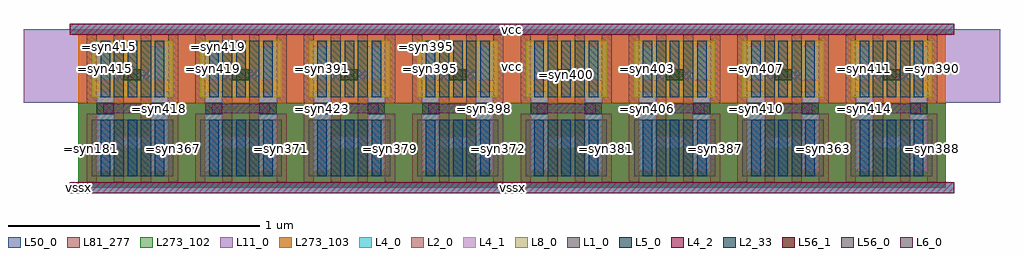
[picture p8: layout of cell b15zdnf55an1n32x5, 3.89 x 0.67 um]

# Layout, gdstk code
import gdstk
lib = gdstk.Library(unit=1e-6, precision=5e-10)
def R(c, l, rs):  # rectangles x0, y0, x1, y1
    for r in rs: c.add(gdstk.rectangle(r[:2], r[2:], *l))
def A(c, l, x, y, w, h, nx, ny, dx, dy):  # array of equal rectangles
    R(c, l, [(x+i*dx, y+j*dy, x+i*dx+w, y+j*dy+h) for i in range(nx) for j in range(ny)])
def P(c, l, *ps):  # polygons
    for p in ps: c.add(gdstk.Polygon(p, *l))
L1_0 = (1, 0)
L2_0 = (2, 0)
L2_33 = (2, 33)
L4_0 = (4, 0)
L4_1 = (4, 1)
L4_2 = (4, 2)
L5_0 = (5, 0)
L6_0 = (6, 0)
L8_0 = (8, 0)
L11_0 = (11, 0)
L50_0 = (50, 0)
L56_0 = (56, 0)
L56_1 = (56, 1)
L81_277 = (81, 277)
L273_102 = (273, 102)
L273_103 = (273, 103)

b15zdnf55an1n32x5 = lib.new_cell('b15zdnf55an1n32x5')
A(b15zdnf55an1n32x5, L1_0, 0.054, 0.045, 0.324, 0.225, 8, 1, 0.432, 0)
R(b15zdnf55an1n32x5, L2_0, [(0.034,0.021,0.074,0.294), (0.142,0.021,0.182,0.609), (0.25,0.021,0.29,0.609), (0.358,0.021,0.398,0.294), (0.466,0.021,0.506,0.294), (0.574,0.021,0.614,0.609), (0.682,0.021,0.722,0.609), (0.79,0.021,0.83,0.294), (0.898,0.021,0.938,0.294), (1.006,0.021,1.046,0.609), (1.114,0.021,1.154,0.609), (1.222,0.021,1.262,0.294), (1.33,0.021,1.37,0.294), (1.438,0.021,1.478,0.609), (1.546,0.021,1.586,0.609), (1.654,0.021,1.694,0.294), (1.762,0.021,1.802,0.294), (1.87,0.021,1.91,0.609), (1.978,0.021,2.018,0.609), (2.086,0.021,2.126,0.294), (2.194,0.021,2.234,0.294), (2.302,0.021,2.342,0.609), (2.41,0.021,2.45,0.609), (2.518,0.021,2.558,0.294), (2.626,0.021,2.666,0.294), (2.734,0.021,2.774,0.609), (2.842,0.021,2.882,0.609), (2.95,0.021,2.99,0.294), (3.058,0.021,3.098,0.294), (3.166,0.021,3.206,0.609), (3.274,0.021,3.314,0.609), (3.382,0.021,3.422,0.294), (0.034,0.336,0.074,0.609), (0.358,0.336,0.398,0.609), (0.466,0.336,0.506,0.609), (0.79,0.336,0.83,0.609), (0.898,0.336,0.938,0.609), (1.222,0.336,1.262,0.609), (1.33,0.336,1.37,0.609), (1.654,0.336,1.694,0.609), (1.762,0.336,1.802,0.609), (2.086,0.336,2.126,0.609), (2.194,0.336,2.234,0.609), (2.518,0.336,2.558,0.609), (2.626,0.336,2.666,0.609), (2.95,0.336,2.99,0.609), (3.058,0.336,3.098,0.609), (3.382,0.336,3.422,0.609)])
R(b15zdnf55an1n32x5, L2_33, [(0.142,0.045,0.182,0.27), (0.25,0.045,0.29,0.27), (0.574,0.045,0.614,0.27), (0.682,0.045,0.722,0.27), (1.006,0.045,1.046,0.27), (1.114,0.045,1.154,0.27), (1.438,0.045,1.478,0.27), (1.546,0.045,1.586,0.27), (1.87,0.045,1.91,0.27), (1.978,0.045,2.018,0.27), (2.302,0.045,2.342,0.27), (2.41,0.045,2.45,0.27), (2.734,0.045,2.774,0.27), (2.842,0.045,2.882,0.27), (3.166,0.045,3.206,0.27), (3.274,0.045,3.314,0.27), (0.142,0.36,0.182,0.585), (0.25,0.36,0.29,0.585), (0.574,0.36,0.614,0.585), (0.682,0.36,0.722,0.585), (1.006,0.36,1.046,0.585), (1.114,0.36,1.154,0.585), (1.438,0.36,1.478,0.585), (1.546,0.36,1.586,0.585), (1.87,0.36,1.91,0.585), (1.978,0.36,2.018,0.585), (2.302,0.36,2.342,0.585), (2.41,0.36,2.45,0.585), (2.734,0.36,2.774,0.585), (2.842,0.36,2.882,0.585), (3.166,0.36,3.206,0.585), (3.274,0.36,3.314,0.585)])
R(b15zdnf55an1n32x5, L4_0, [(-0.034,-0.022,3.49,0.022), (-0.034,0.608,3.49,0.652)])
P(b15zdnf55an1n32x5, L4_0, [(0.358,0.428),(0.074,0.428),(0.074,0.562),(0.142,0.562),(0.142,0.472),(0.29,0.472),(0.29,0.562),(0.358,0.562)],
  [(0.358,0.068),(0.29,0.068),(0.29,0.158),(0.142,0.158),(0.142,0.068),(0.074,0.068),(0.074,0.382),(0.142,0.382),(0.142,0.202),(0.29,0.202),(0.29,0.382),(0.358,0.382)],
  [(0.79,0.428),(0.506,0.428),(0.506,0.562),(0.574,0.562),(0.574,0.472),(0.722,0.472),(0.722,0.562),(0.79,0.562)],
  [(0.79,0.068),(0.722,0.068),(0.722,0.158),(0.574,0.158),(0.574,0.068),(0.506,0.068),(0.506,0.382),(0.574,0.382),(0.574,0.202),(0.722,0.202),(0.722,0.382),(0.79,0.382)],
  [(1.222,0.428),(0.938,0.428),(0.938,0.562),(1.006,0.562),(1.006,0.472),(1.154,0.472),(1.154,0.562),(1.222,0.562)],
  [(1.222,0.068),(1.154,0.068),(1.154,0.158),(1.006,0.158),(1.006,0.068),(0.938,0.068),(0.938,0.382),(1.006,0.382),(1.006,0.202),(1.154,0.202),(1.154,0.382),(1.222,0.382)],
  [(1.654,0.428),(1.37,0.428),(1.37,0.562),(1.438,0.562),(1.438,0.472),(1.586,0.472),(1.586,0.562),(1.654,0.562)],
  [(1.654,0.068),(1.586,0.068),(1.586,0.158),(1.438,0.158),(1.438,0.068),(1.37,0.068),(1.37,0.382),(1.438,0.382),(1.438,0.202),(1.586,0.202),(1.586,0.382),(1.654,0.382)],
  [(2.086,0.428),(1.802,0.428),(1.802,0.562),(1.87,0.562),(1.87,0.472),(2.018,0.472),(2.018,0.562),(2.086,0.562)],
  [(2.086,0.068),(2.018,0.068),(2.018,0.158),(1.87,0.158),(1.87,0.068),(1.802,0.068),(1.802,0.382),(1.87,0.382),(1.87,0.202),(2.018,0.202),(2.018,0.382),(2.086,0.382)],
  [(2.518,0.428),(2.234,0.428),(2.234,0.562),(2.302,0.562),(2.302,0.472),(2.45,0.472),(2.45,0.562),(2.518,0.562)],
  [(2.518,0.068),(2.45,0.068),(2.45,0.158),(2.302,0.158),(2.302,0.068),(2.234,0.068),(2.234,0.382),(2.302,0.382),(2.302,0.202),(2.45,0.202),(2.45,0.382),(2.518,0.382)],
  [(2.95,0.428),(2.666,0.428),(2.666,0.562),(2.734,0.562),(2.734,0.472),(2.882,0.472),(2.882,0.562),(2.95,0.562)],
  [(2.95,0.068),(2.882,0.068),(2.882,0.158),(2.734,0.158),(2.734,0.068),(2.666,0.068),(2.666,0.382),(2.734,0.382),(2.734,0.202),(2.882,0.202),(2.882,0.382),(2.95,0.382)],
  [(3.382,0.428),(3.098,0.428),(3.098,0.562),(3.166,0.562),(3.166,0.472),(3.314,0.472),(3.314,0.562),(3.382,0.562)],
  [(3.382,0.068),(3.314,0.068),(3.314,0.158),(3.166,0.158),(3.166,0.068),(3.098,0.068),(3.098,0.382),(3.166,0.382),(3.166,0.202),(3.314,0.202),(3.314,0.382),(3.382,0.382)])
P(b15zdnf55an1n32x5, L4_1, [(0.358,0.428),(0.074,0.428),(0.074,0.562),(0.142,0.562),(0.142,0.472),(0.29,0.472),(0.29,0.562),(0.358,0.562)],
  [(0.358,0.068),(0.29,0.068),(0.29,0.158),(0.142,0.158),(0.142,0.068),(0.074,0.068),(0.074,0.382),(0.142,0.382),(0.142,0.202),(0.29,0.202),(0.29,0.382),(0.358,0.382)],
  [(0.79,0.428),(0.506,0.428),(0.506,0.562),(0.574,0.562),(0.574,0.472),(0.722,0.472),(0.722,0.562),(0.79,0.562)],
  [(0.79,0.068),(0.722,0.068),(0.722,0.158),(0.574,0.158),(0.574,0.068),(0.506,0.068),(0.506,0.382),(0.574,0.382),(0.574,0.202),(0.722,0.202),(0.722,0.382),(0.79,0.382)],
  [(1.222,0.428),(0.938,0.428),(0.938,0.562),(1.006,0.562),(1.006,0.472),(1.154,0.472),(1.154,0.562),(1.222,0.562)],
  [(1.222,0.068),(1.154,0.068),(1.154,0.158),(1.006,0.158),(1.006,0.068),(0.938,0.068),(0.938,0.382),(1.006,0.382),(1.006,0.202),(1.154,0.202),(1.154,0.382),(1.222,0.382)],
  [(1.654,0.428),(1.37,0.428),(1.37,0.562),(1.438,0.562),(1.438,0.472),(1.586,0.472),(1.586,0.562),(1.654,0.562)],
  [(1.654,0.068),(1.586,0.068),(1.586,0.158),(1.438,0.158),(1.438,0.068),(1.37,0.068),(1.37,0.382),(1.438,0.382),(1.438,0.202),(1.586,0.202),(1.586,0.382),(1.654,0.382)],
  [(2.086,0.428),(1.802,0.428),(1.802,0.562),(1.87,0.562),(1.87,0.472),(2.018,0.472),(2.018,0.562),(2.086,0.562)],
  [(2.086,0.068),(2.018,0.068),(2.018,0.158),(1.87,0.158),(1.87,0.068),(1.802,0.068),(1.802,0.382),(1.87,0.382),(1.87,0.202),(2.018,0.202),(2.018,0.382),(2.086,0.382)],
  [(2.518,0.428),(2.234,0.428),(2.234,0.562),(2.302,0.562),(2.302,0.472),(2.45,0.472),(2.45,0.562),(2.518,0.562)],
  [(2.518,0.068),(2.45,0.068),(2.45,0.158),(2.302,0.158),(2.302,0.068),(2.234,0.068),(2.234,0.382),(2.302,0.382),(2.302,0.202),(2.45,0.202),(2.45,0.382),(2.518,0.382)],
  [(2.95,0.428),(2.666,0.428),(2.666,0.562),(2.734,0.562),(2.734,0.472),(2.882,0.472),(2.882,0.562),(2.95,0.562)],
  [(2.95,0.068),(2.882,0.068),(2.882,0.158),(2.734,0.158),(2.734,0.068),(2.666,0.068),(2.666,0.382),(2.734,0.382),(2.734,0.202),(2.882,0.202),(2.882,0.382),(2.95,0.382)],
  [(3.382,0.428),(3.098,0.428),(3.098,0.562),(3.166,0.562),(3.166,0.472),(3.314,0.472),(3.314,0.562),(3.382,0.562)],
  [(3.382,0.068),(3.314,0.068),(3.314,0.158),(3.166,0.158),(3.166,0.068),(3.098,0.068),(3.098,0.382),(3.166,0.382),(3.166,0.202),(3.314,0.202),(3.314,0.382),(3.382,0.382)])
R(b15zdnf55an1n32x5, L4_2, [(-0.034,-0.022,3.49,0.022), (-0.034,0.608,3.49,0.652)])
A(b15zdnf55an1n32x5, L5_0, 0.089, 0.045, 0.038, 0.225, 3, 2, 0.108, 0.315)
A(b15zdnf55an1n32x5, L5_0, 0.521, 0.045, 0.038, 0.225, 3, 2, 0.108, 0.315)
A(b15zdnf55an1n32x5, L5_0, 0.953, 0.045, 0.038, 0.225, 3, 2, 0.108, 0.315)
A(b15zdnf55an1n32x5, L5_0, 1.385, 0.045, 0.038, 0.225, 3, 2, 0.108, 0.315)
A(b15zdnf55an1n32x5, L5_0, 1.817, 0.045, 0.038, 0.225, 3, 2, 0.108, 0.315)
A(b15zdnf55an1n32x5, L5_0, 2.249, 0.045, 0.038, 0.225, 3, 2, 0.108, 0.315)
A(b15zdnf55an1n32x5, L5_0, 2.681, 0.045, 0.038, 0.225, 3, 2, 0.108, 0.315)
A(b15zdnf55an1n32x5, L5_0, 3.113, 0.045, 0.038, 0.225, 3, 2, 0.108, 0.315)
A(b15zdnf55an1n32x5, L6_0, 0.099, 0.296, 0.234, 0.038, 8, 1, 0.432, 0)
A(b15zdnf55an1n32x5, L8_0, 0.054, 0.36, 0.324, 0.225, 8, 1, 0.432, 0)
R(b15zdnf55an1n32x5, L11_0, [(-0.216,0.3375,3.672,0.63)])
R(b15zdnf55an1n32x5, L50_0, [(0,0,3.456,0.63)])
A(b15zdnf55an1n32x5, L56_0, 0.074, 0.293, 0.068, 0.044, 16, 1, 0.216, 0)
A(b15zdnf55an1n32x5, L56_0, 0.182, 0.428, 0.068, 0.044, 8, 1, 0.432, 0)
A(b15zdnf55an1n32x5, L56_1, 0.074, 0.293, 0.068, 0.044, 16, 1, 0.216, 0)
A(b15zdnf55an1n32x5, L56_1, 0.182, 0.428, 0.068, 0.044, 8, 1, 0.432, 0)
R(b15zdnf55an1n32x5, L81_277, [(0,0,3.456,0.63)])
R(b15zdnf55an1n32x5, L273_102, [(0,0,3.456,0.3375)])
R(b15zdnf55an1n32x5, L273_103, [(0,0.3375,3.456,0.63)])
b15zdnf55an1n32x5.add(gdstk.Label('vssx', (0,0), layer=81, texttype=6))
b15zdnf55an1n32x5.add(gdstk.Label('vcc', (1.728,0.484), layer=11, texttype=0))
b15zdnf55an1n32x5.add(gdstk.Label('=syn415', (0.108,0.4725), layer=8, texttype=0))
b15zdnf55an1n32x5.add(gdstk.Label('=syn419', (0.54,0.4725), layer=8, texttype=0))
b15zdnf55an1n32x5.add(gdstk.Label('=syn391', (0.972,0.4725), layer=8, texttype=0))
b15zdnf55an1n32x5.add(gdstk.Label('=syn395', (1.404,0.4725), layer=8, texttype=0))
b15zdnf55an1n32x5.add(gdstk.Label('=syn399', (1.836,0.4725), layer=8, texttype=0))
b15zdnf55an1n32x5.add(gdstk.Label('=syn403', (2.268,0.4725), layer=8, texttype=0))
b15zdnf55an1n32x5.add(gdstk.Label('=syn407', (2.7,0.4725), layer=8, texttype=0))
b15zdnf55an1n32x5.add(gdstk.Label('=syn411', (3.132,0.4725), layer=8, texttype=0))
b15zdnf55an1n32x5.add(gdstk.Label('=syn416', (0.27,0.45), layer=4, texttype=0))
b15zdnf55an1n32x5.add(gdstk.Label('=syn418', (0.324,0.315), layer=4, texttype=0))
b15zdnf55an1n32x5.add(gdstk.Label('=syn420', (0.648,0.45), layer=4, texttype=0))
b15zdnf55an1n32x5.add(gdstk.Label('=syn422', (0.54,0.315), layer=4, texttype=0))
b15zdnf55an1n32x5.add(gdstk.Label('=syn392', (1.08,0.45), layer=4, texttype=0))
b15zdnf55an1n32x5.add(gdstk.Label('=syn423', (0.972,0.315), layer=4, texttype=0))
b15zdnf55an1n32x5.add(gdstk.Label('=syn396', (1.512,0.45), layer=4, texttype=0))
b15zdnf55an1n32x5.add(gdstk.Label('=syn398', (1.62,0.315), layer=4, texttype=0))
b15zdnf55an1n32x5.add(gdstk.Label('=syn400', (1.944,0.45), layer=4, texttype=0))
b15zdnf55an1n32x5.add(gdstk.Label('=syn402', (1.836,0.315), layer=4, texttype=0))
b15zdnf55an1n32x5.add(gdstk.Label('=syn404', (2.376,0.45), layer=4, texttype=0))
b15zdnf55an1n32x5.add(gdstk.Label('=syn406', (2.268,0.315), layer=4, texttype=0))
b15zdnf55an1n32x5.add(gdstk.Label('=syn408', (2.808,0.45), layer=4, texttype=0))
b15zdnf55an1n32x5.add(gdstk.Label('=syn410', (2.7,0.315), layer=4, texttype=0))
b15zdnf55an1n32x5.add(gdstk.Label('=syn412', (3.24,0.45), layer=4, texttype=0))
b15zdnf55an1n32x5.add(gdstk.Label('=syn414', (3.132,0.315), layer=4, texttype=0))
b15zdnf55an1n32x5.add(gdstk.Label('vcc', (1.728,0.63), layer=4, texttype=0))
b15zdnf55an1n32x5.add(gdstk.Label('vssx', (1.728,0), layer=4, texttype=0))
b15zdnf55an1n32x5.add(gdstk.Label('vcc', (1.728,0.63), layer=4, texttype=2))
b15zdnf55an1n32x5.add(gdstk.Label('vssx', (1.728,0), layer=4, texttype=2))
b15zdnf55an1n32x5.add(gdstk.Label('=syn182', (0.054,0.4725), layer=2, texttype=0))
b15zdnf55an1n32x5.add(gdstk.Label('=syn181', (0.054,0.1575), layer=2, texttype=0))
b15zdnf55an1n32x5.add(gdstk.Label('=syn418', (0.162,0.4725), layer=2, texttype=0))
b15zdnf55an1n32x5.add(gdstk.Label('=syn418', (0.27,0.4725), layer=2, texttype=0))
b15zdnf55an1n32x5.add(gdstk.Label('=syn368', (0.378,0.4725), layer=2, texttype=0))
b15zdnf55an1n32x5.add(gdstk.Label('=syn367', (0.378,0.1575), layer=2, texttype=0))
b15zdnf55an1n32x5.add(gdstk.Label('=syn185', (0.486,0.4725), layer=2, texttype=0))
b15zdnf55an1n32x5.add(gdstk.Label('=syn184', (0.486,0.1575), layer=2, texttype=0))
b15zdnf55an1n32x5.add(gdstk.Label('=syn422', (0.594,0.4725), layer=2, texttype=0))
b15zdnf55an1n32x5.add(gdstk.Label('=syn422', (0.702,0.4725), layer=2, texttype=0))
b15zdnf55an1n32x5.add(gdstk.Label('=syn373', (0.81,0.4725), layer=2, texttype=0))
b15zdnf55an1n32x5.add(gdstk.Label('=syn371', (0.81,0.1575), layer=2, texttype=0))
b15zdnf55an1n32x5.add(gdstk.Label('=syn188', (0.918,0.4725), layer=2, texttype=0))
b15zdnf55an1n32x5.add(gdstk.Label('=syn187', (0.918,0.1575), layer=2, texttype=0))
b15zdnf55an1n32x5.add(gdstk.Label('=syn423', (1.026,0.4725), layer=2, texttype=0))
b15zdnf55an1n32x5.add(gdstk.Label('=syn423', (1.134,0.4725), layer=2, texttype=0))
b15zdnf55an1n32x5.add(gdstk.Label('=syn380', (1.242,0.4725), layer=2, texttype=0))
b15zdnf55an1n32x5.add(gdstk.Label('=syn379', (1.242,0.1575), layer=2, texttype=0))
b15zdnf55an1n32x5.add(gdstk.Label('=syn191', (1.35,0.4725), layer=2, texttype=0))
b15zdnf55an1n32x5.add(gdstk.Label('=syn190', (1.35,0.1575), layer=2, texttype=0))
b15zdnf55an1n32x5.add(gdstk.Label('=syn398', (1.458,0.4725), layer=2, texttype=0))
b15zdnf55an1n32x5.add(gdstk.Label('=syn398', (1.566,0.4725), layer=2, texttype=0))
b15zdnf55an1n32x5.add(gdstk.Label('=syn374', (1.674,0.4725), layer=2, texttype=0))
b15zdnf55an1n32x5.add(gdstk.Label('=syn372', (1.674,0.1575), layer=2, texttype=0))
b15zdnf55an1n32x5.add(gdstk.Label('=syn194', (1.782,0.4725), layer=2, texttype=0))
b15zdnf55an1n32x5.add(gdstk.Label('=syn193', (1.782,0.1575), layer=2, texttype=0))
b15zdnf55an1n32x5.add(gdstk.Label('=syn402', (1.89,0.4725), layer=2, texttype=0))
b15zdnf55an1n32x5.add(gdstk.Label('=syn402', (1.998,0.4725), layer=2, texttype=0))
b15zdnf55an1n32x5.add(gdstk.Label('=syn384', (2.106,0.4725), layer=2, texttype=0))
b15zdnf55an1n32x5.add(gdstk.Label('=syn381', (2.106,0.1575), layer=2, texttype=0))
b15zdnf55an1n32x5.add(gdstk.Label('=syn198', (2.214,0.4725), layer=2, texttype=0))
b15zdnf55an1n32x5.add(gdstk.Label('=syn196', (2.214,0.1575), layer=2, texttype=0))
b15zdnf55an1n32x5.add(gdstk.Label('=syn406', (2.322,0.4725), layer=2, texttype=0))
b15zdnf55an1n32x5.add(gdstk.Label('=syn406', (2.43,0.4725), layer=2, texttype=0))
b15zdnf55an1n32x5.add(gdstk.Label('=syn389', (2.538,0.4725), layer=2, texttype=0))
b15zdnf55an1n32x5.add(gdstk.Label('=syn387', (2.538,0.1575), layer=2, texttype=0))
b15zdnf55an1n32x5.add(gdstk.Label('=syn203', (2.646,0.4725), layer=2, texttype=0))
b15zdnf55an1n32x5.add(gdstk.Label('=syn202', (2.646,0.1575), layer=2, texttype=0))
b15zdnf55an1n32x5.add(gdstk.Label('=syn410', (2.754,0.4725), layer=2, texttype=0))
b15zdnf55an1n32x5.add(gdstk.Label('=syn410', (2.862,0.4725), layer=2, texttype=0))
b15zdnf55an1n32x5.add(gdstk.Label('=syn364', (2.97,0.4725), layer=2, texttype=0))
b15zdnf55an1n32x5.add(gdstk.Label('=syn363', (2.97,0.1575), layer=2, texttype=0))
b15zdnf55an1n32x5.add(gdstk.Label('=syn199', (3.078,0.4725), layer=2, texttype=0))
b15zdnf55an1n32x5.add(gdstk.Label('=syn197', (3.078,0.1575), layer=2, texttype=0))
b15zdnf55an1n32x5.add(gdstk.Label('=syn414', (3.186,0.4725), layer=2, texttype=0))
b15zdnf55an1n32x5.add(gdstk.Label('=syn414', (3.294,0.4725), layer=2, texttype=0))
b15zdnf55an1n32x5.add(gdstk.Label('=syn390', (3.402,0.4725), layer=2, texttype=0))
b15zdnf55an1n32x5.add(gdstk.Label('=syn388', (3.402,0.1575), layer=2, texttype=0))
b15zdnf55an1n32x5.add(gdstk.Label('=syn369', (0.216,0.1575), layer=1, texttype=0))
b15zdnf55an1n32x5.add(gdstk.Label('=syn376', (0.756,0.1575), layer=1, texttype=0))
b15zdnf55an1n32x5.add(gdstk.Label('=syn383', (1.188,0.1575), layer=1, texttype=0))
b15zdnf55an1n32x5.add(gdstk.Label('=syn378', (1.62,0.1575), layer=1, texttype=0))
b15zdnf55an1n32x5.add(gdstk.Label('=syn386', (2.052,0.1575), layer=1, texttype=0))
b15zdnf55an1n32x5.add(gdstk.Label('=syn359', (2.376,0.1575), layer=1, texttype=0))
b15zdnf55an1n32x5.add(gdstk.Label('=syn366', (2.916,0.1575), layer=1, texttype=0))
b15zdnf55an1n32x5.add(gdstk.Label('=syn362', (3.348,0.1575), layer=1, texttype=0))
b15zdnf55an1n32x5.add(gdstk.Label('=syn418', (0.27,0.315), layer=6, texttype=0))
b15zdnf55an1n32x5.add(gdstk.Label('=syn422', (0.54,0.315), layer=6, texttype=0))
b15zdnf55an1n32x5.add(gdstk.Label('=syn423', (0.972,0.315), layer=6, texttype=0))
b15zdnf55an1n32x5.add(gdstk.Label('=syn398', (1.591,0.315), layer=6, texttype=0))
b15zdnf55an1n32x5.add(gdstk.Label('=syn402', (1.836,0.315), layer=6, texttype=0))
b15zdnf55an1n32x5.add(gdstk.Label('=syn406', (2.268,0.315), layer=6, texttype=0))
b15zdnf55an1n32x5.add(gdstk.Label('=syn410', (2.7,0.315), layer=6, texttype=0))
b15zdnf55an1n32x5.add(gdstk.Label('=syn414', (3.132,0.315), layer=6, texttype=0))
b15zdnf55an1n32x5.add(gdstk.Label('=syn415', (0.126,0.56), layer=5, texttype=0))
b15zdnf55an1n32x5.add(gdstk.Label('=syn183', (0.108,0.1575), layer=5, texttype=0))
b15zdnf55an1n32x5.add(gdstk.Label('=syn416', (0.216,0.45), layer=5, texttype=0))
b15zdnf55an1n32x5.add(gdstk.Label('=syn369', (0.216,0.1575), layer=5, texttype=0))
b15zdnf55an1n32x5.add(gdstk.Label('=syn417', (0.324,0.4725), layer=5, texttype=0))
b15zdnf55an1n32x5.add(gdstk.Label('=syn370', (0.324,0.1575), layer=5, texttype=0))
b15zdnf55an1n32x5.add(gdstk.Label('=syn419', (0.558,0.56), layer=5, texttype=0))
b15zdnf55an1n32x5.add(gdstk.Label('=syn186', (0.54,0.1575), layer=5, texttype=0))
b15zdnf55an1n32x5.add(gdstk.Label('=syn420', (0.648,0.45), layer=5, texttype=0))
b15zdnf55an1n32x5.add(gdstk.Label('=syn375', (0.648,0.1575), layer=5, texttype=0))
b15zdnf55an1n32x5.add(gdstk.Label('=syn421', (0.756,0.4725), layer=5, texttype=0))
b15zdnf55an1n32x5.add(gdstk.Label('=syn376', (0.756,0.1575), layer=5, texttype=0))
b15zdnf55an1n32x5.add(gdstk.Label('=syn391', (0.972,0.4725), layer=5, texttype=0))
b15zdnf55an1n32x5.add(gdstk.Label('=syn189', (0.972,0.1575), layer=5, texttype=0))
b15zdnf55an1n32x5.add(gdstk.Label('=syn392', (1.08,0.45), layer=5, texttype=0))
b15zdnf55an1n32x5.add(gdstk.Label('=syn382', (1.08,0.1575), layer=5, texttype=0))
b15zdnf55an1n32x5.add(gdstk.Label('=syn393', (1.188,0.4725), layer=5, texttype=0))
b15zdnf55an1n32x5.add(gdstk.Label('=syn383', (1.188,0.1575), layer=5, texttype=0))
b15zdnf55an1n32x5.add(gdstk.Label('=syn395', (1.386,0.56), layer=5, texttype=0))
b15zdnf55an1n32x5.add(gdstk.Label('=syn192', (1.404,0.1575), layer=5, texttype=0))
b15zdnf55an1n32x5.add(gdstk.Label('=syn396', (1.512,0.45), layer=5, texttype=0))
b15zdnf55an1n32x5.add(gdstk.Label('=syn377', (1.512,0.1575), layer=5, texttype=0))
b15zdnf55an1n32x5.add(gdstk.Label('=syn397', (1.62,0.4725), layer=5, texttype=0))
b15zdnf55an1n32x5.add(gdstk.Label('=syn378', (1.62,0.1575), layer=5, texttype=0))
b15zdnf55an1n32x5.add(gdstk.Label('=syn399', (1.836,0.4725), layer=5, texttype=0))
b15zdnf55an1n32x5.add(gdstk.Label('=syn195', (1.836,0.1575), layer=5, texttype=0))
b15zdnf55an1n32x5.add(gdstk.Label('=syn400', (1.944,0.45), layer=5, texttype=0))
b15zdnf55an1n32x5.add(gdstk.Label('=syn385', (1.944,0.1575), layer=5, texttype=0))
b15zdnf55an1n32x5.add(gdstk.Label('=syn401', (2.052,0.4725), layer=5, texttype=0))
b15zdnf55an1n32x5.add(gdstk.Label('=syn386', (2.052,0.1575), layer=5, texttype=0))
b15zdnf55an1n32x5.add(gdstk.Label('=syn403', (2.268,0.4725), layer=5, texttype=0))
b15zdnf55an1n32x5.add(gdstk.Label('=syn200', (2.268,0.1575), layer=5, texttype=0))
b15zdnf55an1n32x5.add(gdstk.Label('=syn404', (2.376,0.45), layer=5, texttype=0))
b15zdnf55an1n32x5.add(gdstk.Label('=syn359', (2.376,0.1575), layer=5, texttype=0))
b15zdnf55an1n32x5.add(gdstk.Label('=syn405', (2.484,0.4725), layer=5, texttype=0))
b15zdnf55an1n32x5.add(gdstk.Label('=syn360', (2.484,0.1575), layer=5, texttype=0))
b15zdnf55an1n32x5.add(gdstk.Label('=syn407', (2.7,0.4725), layer=5, texttype=0))
b15zdnf55an1n32x5.add(gdstk.Label('=syn204', (2.7,0.1575), layer=5, texttype=0))
b15zdnf55an1n32x5.add(gdstk.Label('=syn408', (2.808,0.45), layer=5, texttype=0))
b15zdnf55an1n32x5.add(gdstk.Label('=syn365', (2.808,0.1575), layer=5, texttype=0))
b15zdnf55an1n32x5.add(gdstk.Label('=syn409', (2.916,0.4725), layer=5, texttype=0))
b15zdnf55an1n32x5.add(gdstk.Label('=syn366', (2.916,0.1575), layer=5, texttype=0))
b15zdnf55an1n32x5.add(gdstk.Label('=syn411', (3.132,0.4725), layer=5, texttype=0))
b15zdnf55an1n32x5.add(gdstk.Label('=syn201', (3.132,0.1575), layer=5, texttype=0))
b15zdnf55an1n32x5.add(gdstk.Label('=syn412', (3.24,0.45), layer=5, texttype=0))
b15zdnf55an1n32x5.add(gdstk.Label('=syn361', (3.24,0.1575), layer=5, texttype=0))
b15zdnf55an1n32x5.add(gdstk.Label('=syn413', (3.348,0.4725), layer=5, texttype=0))
b15zdnf55an1n32x5.add(gdstk.Label('=syn362', (3.348,0.1575), layer=5, texttype=0))

lib.write_gds('b15zdnf55an1n32x5.gds')
